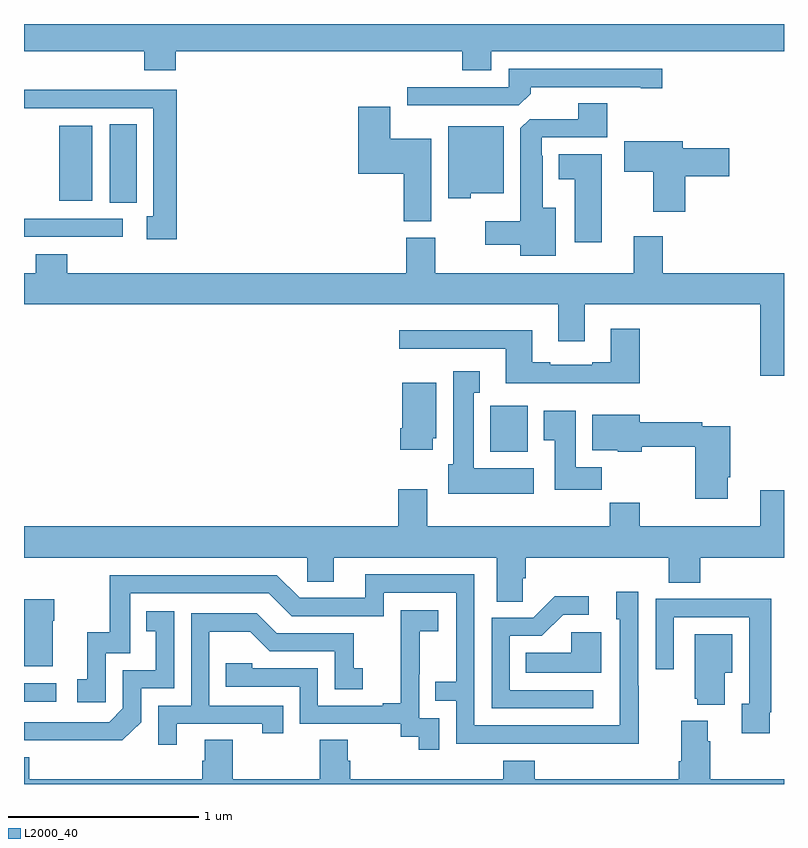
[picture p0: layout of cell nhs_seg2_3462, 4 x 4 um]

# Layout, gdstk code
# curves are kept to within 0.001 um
import gdstk
lib = gdstk.Library(unit=1e-6, precision=1e-09)
def R(c, l, rs):  # rectangles x0, y0, x1, y1
    for r in rs: c.add(gdstk.rectangle(r[:2], r[2:], *l))
def P(c, l, *ps):  # polygons
    for p in ps: c.add(gdstk.Polygon(p, *l))
L2000_40 = (2000, 40)

nhs_seg2_3462 = lib.new_cell('nhs_seg2_3462')
R(nhs_seg2_3462, L2000_40, [(293,624.234,293.17,624.33), (295.454,625.55,295.651,625.792), (293,626.679,293.521,626.775), (293.45,626.86,293.593,627.272), (293.186,626.87,293.359,627.265)])
P(nhs_seg2_3462, L2000_40, [(293.798,627.656),(295.307,627.656),(295.307,627.557),(295.459,627.557),(295.459,627.656),(297,627.656),(297,627.8),(293,627.8),(293,627.656),(293.633,627.656),(293.633,627.557),(293.798,627.557)],
  [(295.667,627.434),(295.667,627.468),(296.246,627.468),(296.246,627.463),(296.359,627.463),(296.359,627.564),(295.551,627.564),(295.551,627.468),(295.017,627.468),(295.017,627.372),(295.605,627.372)],
  [(293.803,627.453),(293.549,627.453),(293.549,627.455),(293,627.455),(293,627.357),(293.681,627.357),(293.681,626.787),(293.645,626.787),(293.645,626.667),(293.803,626.667)],
  [(295.798,626.833),(295.729,626.833),(295.729,627.107),(295.725,627.107),(295.725,627.204),(296.069,627.204),(296.069,627.383),(295.916,627.383),(295.916,627.3),(295.662,627.3),(295.613,627.251),(295.613,626.761),(295.428,626.761),(295.428,626.639),(295.613,626.639),(295.613,626.579),(295.798,626.579)],
  [(295.144,627.196),(294.928,627.196),(294.928,627.364),(294.758,627.364),(294.758,627.011),(294.998,627.011),(294.998,626.761),(295.144,626.761)],
  [(295.35,626.909),(295.525,626.909),(295.525,627.262),(295.232,627.262),(295.232,626.882),(295.35,626.882)],
  [(296.48,626.999),(296.713,626.999),(296.713,627.146),(296.467,627.146),(296.467,627.184),(296.16,627.184),(296.16,627.022),(296.312,627.022),(296.312,626.811),(296.48,626.811)],
  [(296.041,627.115),(295.814,627.115),(295.814,626.984),(295.898,626.984),(295.898,626.652),(296.041,626.652)],
  [(297,626.488),(296.363,626.488),(296.363,626.683),(296.21,626.683),(296.21,626.488),(295.165,626.488),(295.165,626.676),(295.013,626.676),(295.013,626.488),(293.228,626.488),(293.228,626.587),(293.063,626.587),(293.063,626.488),(293,626.488),(293,626.324),(295.811,626.324),(295.811,626.13),(295.951,626.13),(295.951,626.324),(296.876,626.324),(296.876,625.95),(297,625.95)],
  [(296.24,626.197),(296.087,626.197),(296.087,626.02),(295.991,626.02),(295.991,626.007),(295.771,626.007),(295.771,626.02),(295.675,626.02),(295.675,626.188),(294.975,626.188),(294.975,626.091),(295.535,626.091),(295.535,625.91),(296.24,625.91)],
  [(295.684,625.462),(295.366,625.462),(295.366,625.859),(295.399,625.859),(295.399,625.972),(295.259,625.972),(295.259,625.482),(295.232,625.482),(295.232,625.328),(295.684,625.328)],
  [(295.15,625.62),(295.171,625.62),(295.171,625.912),(294.992,625.912),(294.992,625.672),(294.98,625.672),(294.98,625.56),(295.15,625.56)],
  [(296.042,625.468),(295.903,625.468),(295.903,625.765),(295.736,625.765),(295.736,625.609),(295.793,625.609),(295.793,625.35),(296.042,625.35)],
  [(296.704,625.414),(296.717,625.414),(296.717,625.683),(296.57,625.683),(296.57,625.703),(296.242,625.703),(296.242,625.744),(295.991,625.744),(295.991,625.556),(296.124,625.556),(296.124,625.55),(296.25,625.55),(296.25,625.575),(296.534,625.575),(296.534,625.302),(296.704,625.302)],
  [(296.393,624.859),(296.558,624.859),(296.558,624.992),(297,624.992),(297,625.345),(296.876,625.345),(296.876,625.156),(296.24,625.156),(296.24,625.28),(296.083,625.28),(296.083,625.156),(295.123,625.156),(295.123,625.351),(294.971,625.351),(294.971,625.156),(293,625.156),(293,624.992),(294.492,624.992),(294.492,624.865),(294.631,624.865),(294.631,624.992),(295.487,624.992),(295.487,624.76),(295.626,624.76),(295.626,624.883),(295.64,624.883),(295.64,624.992),(296.393,624.992)],
  [(296.235,624.317),(296.232,624.317),(296.232,624.811),(296.117,624.811),(296.117,624.666),(296.136,624.666),(296.135,624.108),(295.371,624.108),(295.371,624.903),(294.797,624.903),(294.797,624.78),(294.45,624.78),(294.33,624.9),(293.451,624.9),(293.451,624.598),(293.333,624.598),(293.333,624.351),(293.28,624.351),(293.28,624.231),(293.43,624.231),(293.43,624.489),(293.559,624.489),(293.559,624.804),(294.288,624.804),(294.408,624.684),(294.894,624.684),(294.894,624.807),(295.275,624.807),(295.275,624.338),(295.165,624.338),(295.165,624.237),(295.275,624.237),(295.275,624.012),(296.235,624.011)],
  [(295.996,624.294),(295.557,624.294),(295.557,624.579),(295.726,624.579),(295.837,624.69),(295.972,624.69),(295.972,624.788),(295.793,624.788),(295.68,624.675),(295.461,624.675),(295.461,624.198),(295.996,624.198)],
  [(296.926,624.178),(296.933,624.178),(296.933,624.776),(296.641,624.776),(296.641,624.774),(296.325,624.774),(296.325,624.405),(296.421,624.405),(296.421,624.678),(296.817,624.678),(296.817,624.222),(296.777,624.222),(296.777,624.066),(296.926,624.066)],
  [(293.152,624.659),(293.16,624.659),(293.16,624.772),(293,624.772),(293,624.419),(293.152,624.419)],
  [(295.185,624.147),(295.08,624.147),(295.08,624.377),(295.082,624.377),(295.082,624.605),(295.18,624.605),(295.18,624.715),(294.982,624.715),(294.982,624.509),(294.983,624.509),(294.983,624.226),(294.887,624.226),(294.887,624.213),(294.546,624.213),(294.546,624.408),(294.201,624.408),(294.201,624.435),(294.061,624.435),(294.061,624.312),(294.45,624.312),(294.45,624.117),(294.984,624.117),(294.984,624.049),(295.077,624.049),(295.077,623.979),(295.185,623.979)],
  [(293.616,624.126),(293.616,624.303),(293.79,624.303),(293.79,624.709),(293.644,624.709),(293.644,624.603),(293.693,624.603),(293.693,624.399),(293.52,624.399),(293.52,624.198),(293.448,624.126),(293,624.126),(293,624.03),(293.518,624.029)],
  [(293.803,624.117),(294.254,624.117),(294.254,624.066),(294.365,624.066),(294.365,624.213),(293.976,624.213),(293.976,624.602),(294.19,624.602),(294.294,624.498),(294.636,624.498),(294.636,624.3),(294.784,624.3),(294.784,624.409),(294.735,624.409),(294.735,624.594),(294.331,624.594),(294.226,624.699),(293.88,624.699),(293.88,624.213),(293.706,624.213),(293.706,624.006),(293.803,624.006)],
  [(296.038,624.598),(295.881,624.598),(295.881,624.49),(295.642,624.49),(295.642,624.386),(296.038,624.386)],
  [(296.689,624.386),(296.728,624.386),(296.728,624.589),(296.531,624.589),(296.531,624.249),(296.543,624.249),(296.543,624.218),(296.689,624.218)],
  [(297,623.824),(296.612,623.824),(296.612,624.026),(296.599,624.026),(296.599,624.133),(296.459,624.133),(296.459,623.92),(296.447,623.92),(296.447,623.824),(295.688,623.824),(295.688,623.923),(295.523,623.923),(295.523,623.824),(294.716,623.824),(294.716,623.922),(294.703,623.922),(294.703,624.032),(294.556,624.032),(294.556,623.824),(294.099,623.824),(294.099,624.032),(293.951,624.032),(293.951,623.922),(293.939,623.922),(293.939,623.824),(293.027,623.824),(293.027,623.941),(293,623.941),(293,623.8),(297,623.8)])

lib.write_gds('nhs_seg2_3462.gds')
